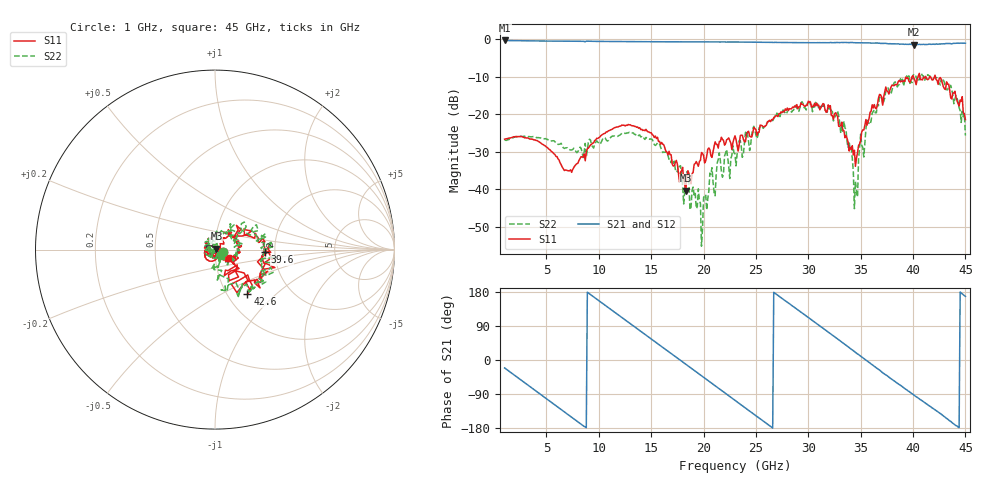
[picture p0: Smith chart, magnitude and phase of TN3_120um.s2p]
!Keysight Technologies,N5247B,MY61255062,A.19.80.06
!Date: Monday, May 18, 2026 12:48:52
!Correction: S11(Cdelta 2-Port  )
!S21(Cdelta 2-Port  )
!S12(Cdelta 2-Port  )
!S22(Cdelta 2-Port  )
!S2P File: Measurements: S11, S21, S12, S22:
# Hz S  dB  R 50
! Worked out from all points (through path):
!   441 points, 1 GHz to 45 GHz, reference 50 ohm
!   highest |S21| = -0.41 dB at 1 GHz (marker M1); lowest = -1.5 dB at 40.1 GHz (marker M2)
!   group delay of S21, straight-line fit = 56.2 ps
!   lowest |S11| = -40.4 dB at 18.3 GHz (marker M3), VSWR 1.02, Z = 50.8 + j0.525 ohm
!   |S11| at or under -10 dB: start of sweep to 39.91 GHz; 40.65 GHz to 41.19 GHz (541.3 MHz wide, 1.32 % of centre); 42.13 GHz to end of sweep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
!   |S22| runs from -55.1 to -9.2 dB; largest |S21 - S12| = 0.015
!   S11 on the Smith chart (normalised r, x): 1 GHz: 1.09, -0.03; 39.6 GHz: 1.76, -0.06; 42.6 GHz: 1.24, -0.68; 45 GHz: 1.15, -0.11
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1e9  -26.66 -16.2  -0.41 -21.0  -0.40 -21.0  -26.95 -17.9
4.6e9  -28.01 -95.8  -0.56 -94.1  -0.55 -94.0  -26.45 -95.7
6.9e9  -34.90 -101.3  -0.60 -140.6  -0.60 -140.6  -28.97 -122.3
8.4e9  -31.42 -66.1  -0.62 -171.2  -0.62 -171.2  -30.11 -111.4
1.02e10  -25.71 -80.1  -0.67 152.4  -0.67 152.4  -27.61 -126.8
1.24e10  -22.93 -120.1  -0.74 108.2  -0.73 108.2  -25.10 -147.9
1.57e10  -27.28 169.3  -0.76 41.4  -0.75 41.4  -27.60 151.6
1.83e10  -40.38 32.7  -0.80 -11.1  -0.79 -11.1  -36.86 73.2
1.98e10  -30.22 -50.5  -0.79 -41.4  -0.79 -41.3  -55.12 -171.9
2.14e10  -29.04 -96.5  -0.82 -74.1  -0.82 -74.0  -32.06 -132.8
2.3e10  -25.76 -141.4  -0.82 -106.4  -0.82 -106.4  -30.51 -165.8
2.66e10  -21.52 84.9  -0.94 -179.4  -0.93 -179.3  -21.75 89.9
3.04e10  -17.92 -1.2  -1.01 104.0  -0.99 104.0  -19.36 7.7
3.34e10  -24.40 -39.4  -0.93 43.1  -0.94 43.0  -21.91 -68.8
3.45e10  -33.89 -9.3  -1.02 20.1  -0.99 20.4  -37.93 -115.9
3.5e10  -26.98 49.7  -1.03 10.0  -0.98 10.1  -25.30 102.0
3.57e10  -22.11 52.3  -1.06 -4.1  -1.07 -4.3  -22.05 83.5
3.77e10  -14.67 26.9  -1.31 -45.3  -1.23 -45.3  -13.69 44.5
3.96e10  -11.15 -3.1  -1.47 -82.7  -1.46 -82.6  -9.81 7.9
4.01e10  -10.56 -2.3  -1.50 -92.7  -1.48 -92.5  -9.37 -12.4
4.26e10  -10.28 -53.8  -1.36 -141.3  -1.31 -141.1  -12.24 -51.3
4.5e10  -21.46 -33.8  -1.13 167.8  -1.14 168.3  -25.69 -47.1
